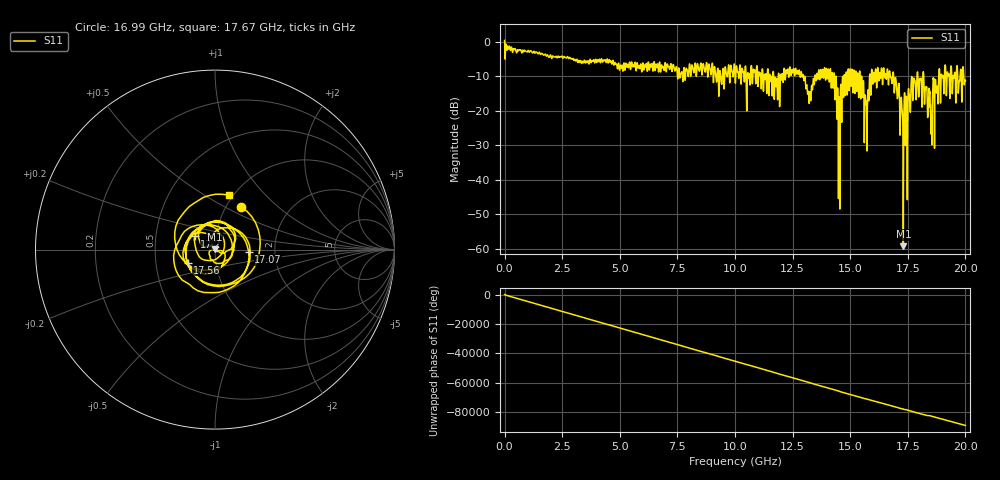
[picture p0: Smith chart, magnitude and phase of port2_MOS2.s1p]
! MS46122B
! 2250307/22442219
! 7/22/2025 7:45:51 AM
! C:\USERS\SPARKY\DOCUMENTS\VNA_DATA\JULY22_2025\3K\PORT2_MOS2.S1P
! CHANNEL.1
! TR.MEASUREMENT
! RAW.DATA
# GHZ S RI R 50.0
! FREQ.GHZ  S11RE  S11IM
!; PortSelection: Port_1
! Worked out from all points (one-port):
!   10001 points, 1 MHz to 20 GHz, reference 50 ohm
!   lowest |S11| = -59.3 dB at 17.31 GHz (marker M1), VSWR 1.00, Z = 49.9 + j0.0812 ohm
!   |S11| at or under -10 dB: 13.03 GHz to 13.47 GHz (436.7 MHz wide, 3.3 % of centre); 16.89 GHz to 17.9 GHz (1.014 GHz wide, 5.83 % of centre); 18.19 GHz to 18.84 GHz (651.3 MHz wide, 3.52 % of centre) (the widest 3 of 88)
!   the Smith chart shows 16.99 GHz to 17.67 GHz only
!   S11 on the Smith chart (normalised r, x): 16.99 GHz: 1.17, +0.61; 17.07 GHz: 1.46, -0.04; 17.2 GHz: 0.79, +0.12; 17.56 GHz: 0.73, -0.11; 17.67 GHz: 0.96, +0.64
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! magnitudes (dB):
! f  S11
! 1 MHz  0.4
! 2.501 GHz  -4.3
! 5.001 GHz  -7.8
! 7.501 GHz  -10.1
! 10 GHz  -9.1
! 11.86 GHz  -13.5
! 12.5 GHz  -9.0
! 12.95 GHz  -9.5
! 13.22 GHz  -17.8
! 13.56 GHz  -9.1
! 14.06 GHz  -8.0
! 14.55 GHz  -25.0
! 14.75 GHz  -9.7
! 15 GHz  -7.9
! 15.49 GHz  -10.2
! 15.7 GHz  -17.4
! 16.02 GHz  -8.9
! 16.99 GHz  -11.0
! 17.07 GHz  -14.5
! 17.2 GHz  -17.4
! 17.31 GHz  -59.3
! 17.5 GHz  -18.5
! 17.56 GHz  -15.4
! 17.67 GHz  -10.1
! 18.1 GHz  -15.1
! 18.46 GHz  -14.5
! 19.05 GHz  -11.2
! 20 GHz  -11.3
